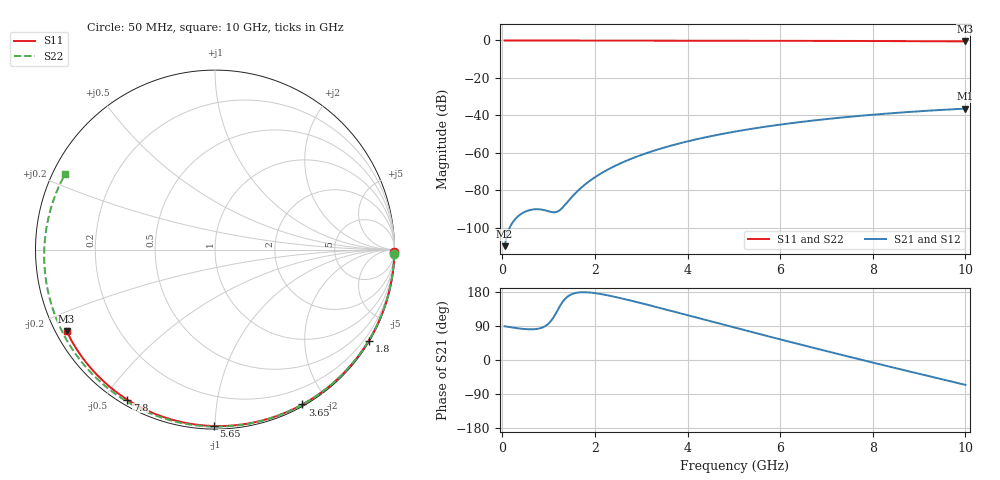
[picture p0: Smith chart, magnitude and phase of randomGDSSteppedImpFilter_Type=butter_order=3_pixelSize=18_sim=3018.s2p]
! freq	dB(S11)	phase(S11)	dB(S12)	phase(S12)
!  dB(S21)	phase(S21)	dB(S22)	phase(S22)
!S-par simulation data
#  GHz  S  DB  R 50
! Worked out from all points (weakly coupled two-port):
!   200 points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, 50 MHz to 10 GHz, reference 50 ohm
!   highest |S21| = -36.45 dB at 10 GHz (marker M1); lowest = -110.0 dB at 50 MHz (marker M2)
!   lowest |S11| = -0.5 dB at 10 GHz (marker M3), VSWR 34.25, Z = 1.56 - j12.8 ohm
!   |S11| at or under -10 dB: nowhere
!   |S22| runs from -0.6 to 0.0 dB; largest |S21 - S12| = 0
!   S11 on the Smith chart (normalised r, x): 50 MHz: open; 1.8 GHz: 0.03, -3.65; 3.65 GHz: 0.02, -1.71; 5.65 GHz: 0.02, -0.99; 7.8 GHz: 0.02, -0.57; 10 GHz: 0.03, -0.26
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0.05  -0.00 -0.9  -109.97 89.0  -109.97 89.0  -0.00 -1.3
0.4  -0.01 -6.9  -92.84 82.7  -92.84 82.7  -0.01 -10.0
0.8  -0.02 -13.7  -90.25 83.2  -90.25 83.2  -0.03 -19.9
1.2  -0.03 -20.6  -91.40 132.7  -91.40 132.7  -0.04 -29.7
1.6  -0.03 -27.3  -81.12 177.4  -81.12 177.4  -0.05 -39.3
1.65  -0.04 -28.1  -79.93 178.3  -79.93 178.3  -0.05 -40.5
1.75  -0.04 -29.8  -77.73 179.0  -77.73 179.0  -0.05 -42.9
1.8  -0.04 -30.6  -76.72 178.9  -76.72 178.9  -0.06 -44.0
2.1  -0.04 -35.6  -71.55 174.6  -71.55 174.6  -0.06 -51.1
2.45  -0.05 -41.4  -66.87 166.1  -66.87 166.1  -0.07 -59.1
2.9  -0.06 -48.7  -62.14 153.0  -62.14 153.0  -0.09 -69.2
3.4  -0.07 -56.6  -57.96 137.4  -57.96 137.4  -0.10 -80.1
3.65  -0.08 -60.5  -56.18 129.4  -56.18 129.4  -0.11 -85.4
4.35  -0.10 -71.3  -51.97 107.0  -51.97 107.0  -0.14 -99.8
5.05  -0.13 -81.7  -48.61 84.5  -48.61 84.5  -0.17 -113.7
5.65  -0.15 -90.5  -46.22 65.5  -46.22 65.5  -0.20 -125.2
6.7  -0.20 -105.3  -42.84 32.7  -42.84 32.7  -0.27 -144.7
7.25  -0.24 -112.9  -41.39 15.9  -41.39 15.9  -0.31 -154.7
7.8  -0.28 -120.4  -40.12 -0.8  -40.12 -0.8  -0.36 -164.8
8.35  -0.33 -127.9  -39.00 -17.2  -39.00 -17.2  -0.41 -174.9
9.2  -0.41 -139.6  -37.54 -42.3  -37.54 -42.3  -0.49 169.1
10  -0.51 -151.2  -36.45 -65.6  -36.45 -65.6  -0.58 153.4
